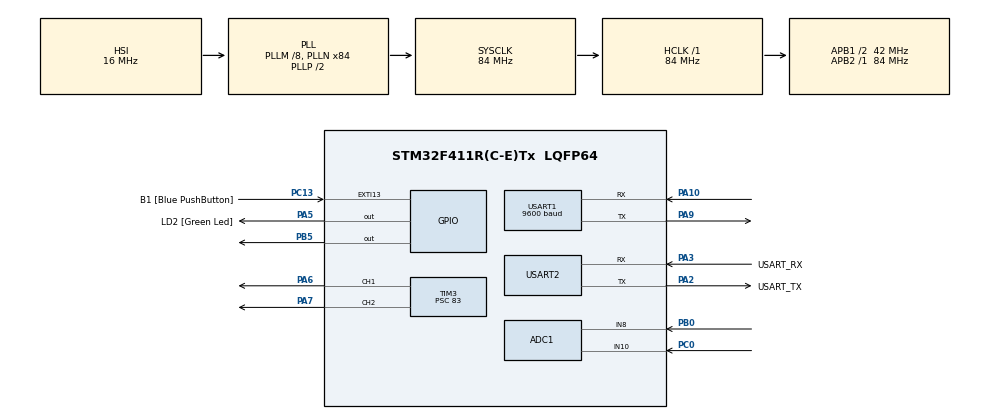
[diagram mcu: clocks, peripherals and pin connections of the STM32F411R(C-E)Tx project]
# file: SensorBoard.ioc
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ADC1.Channel-0\#ChannelRegularConversion=ADC_CHANNEL_10
ADC1.Channel-1\#ChannelRegularConversion=ADC_CHANNEL_8
ADC1.ContinuousConvMode=DISABLE
ADC1.DMAContinuousRequests=DISABLE
ADC1.NbrOfConversion=2
ADC1.NbrOfConversionFlag=1
ADC1.Rank-0\#ChannelRegularConversion=1
ADC1.Rank-1\#ChannelRegularConversion=2
ADC1.SamplingTime-0\#ChannelRegularConversion=ADC_SAMPLETIME_3CYCLES
ADC1.SamplingTime-1\#ChannelRegularConversion=ADC_SAMPLETIME_3CYCLES
ADC1.master=1
Dma.ADC1.0.Direction=DMA_PERIPH_TO_MEMORY
Dma.ADC1.0.FIFOMode=DMA_FIFOMODE_DISABLE
Dma.ADC1.0.Instance=DMA2_Stream0
Dma.ADC1.0.MemDataAlignment=DMA_MDATAALIGN_WORD
Dma.ADC1.0.MemInc=DMA_MINC_ENABLE
Dma.ADC1.0.Mode=DMA_CIRCULAR
Dma.ADC1.0.PeriphDataAlignment=DMA_PDATAALIGN_WORD
Dma.ADC1.0.PeriphInc=DMA_PINC_DISABLE
Dma.ADC1.0.Priority=DMA_PRIORITY_VERY_HIGH
Dma.Request0=ADC1
Dma.Request1=USART2_RX
Dma.Request2=USART2_TX
Dma.Request3=USART1_TX
Dma.Request4=USART1_RX
Dma.USART1_RX.4.Direction=DMA_PERIPH_TO_MEMORY
Dma.USART1_RX.4.FIFOMode=DMA_FIFOMODE_DISABLE
Dma.USART1_RX.4.Instance=DMA2_Stream2
Dma.USART1_RX.4.MemDataAlignment=DMA_MDATAALIGN_BYTE
Dma.USART1_RX.4.MemInc=DMA_MINC_ENABLE
Dma.USART1_RX.4.Mode=DMA_NORMAL
Dma.USART1_RX.4.PeriphDataAlignment=DMA_PDATAALIGN_BYTE
Dma.USART1_RX.4.PeriphInc=DMA_PINC_DISABLE
Dma.USART1_RX.4.Priority=DMA_PRIORITY_HIGH
Dma.USART1_TX.3.Direction=DMA_MEMORY_TO_PERIPH
Dma.USART1_TX.3.FIFOMode=DMA_FIFOMODE_DISABLE
Dma.USART1_TX.3.Instance=DMA2_Stream7
Dma.USART1_TX.3.MemDataAlignment=DMA_MDATAALIGN_BYTE
Dma.USART1_TX.3.MemInc=DMA_MINC_ENABLE
Dma.USART1_TX.3.Mode=DMA_NORMAL
Dma.USART1_TX.3.PeriphDataAlignment=DMA_PDATAALIGN_BYTE
Dma.USART1_TX.3.PeriphInc=DMA_PINC_DISABLE
Dma.USART1_TX.3.Priority=DMA_PRIORITY_HIGH
Dma.USART2_RX.1.Direction=DMA_PERIPH_TO_MEMORY
Dma.USART2_RX.1.FIFOMode=DMA_FIFOMODE_DISABLE
Dma.USART2_RX.1.Instance=DMA1_Stream5
Dma.USART2_RX.1.MemDataAlignment=DMA_MDATAALIGN_BYTE
Dma.USART2_RX.1.MemInc=DMA_MINC_ENABLE
Dma.USART2_RX.1.Mode=DMA_NORMAL
Dma.USART2_RX.1.PeriphDataAlignment=DMA_PDATAALIGN_BYTE
Dma.USART2_RX.1.PeriphInc=DMA_PINC_DISABLE
Dma.USART2_RX.1.Priority=DMA_PRIORITY_LOW
Dma.USART2_TX.2.Direction=DMA_MEMORY_TO_PERIPH
Dma.USART2_TX.2.FIFOMode=DMA_FIFOMODE_DISABLE
Dma.USART2_TX.2.Instance=DMA1_Stream6
Dma.USART2_TX.2.MemDataAlignment=DMA_MDATAALIGN_BYTE
Dma.USART2_TX.2.MemInc=DMA_MINC_ENABLE
Dma.USART2_TX.2.Mode=DMA_NORMAL
Dma.USART2_TX.2.PeriphDataAlignment=DMA_PDATAALIGN_BYTE
Dma.USART2_TX.2.PeriphInc=DMA_PINC_DISABLE
Dma.USART2_TX.2.Priority=DMA_PRIORITY_LOW
FREERTOS.Tasks01=defaultTask,24,128,StartDefaultTask,Default,NULL,Dynamic,NULL,NULL
FREERTOS.Timers01=dmaTimer,dmaCallback,osTimerPeriodic,Default,NULL,Dynamic,NULL;sensorTimer,sensorCallback,osTimerPeriodic,Default,NULL,Dynamic,NULL
FREERTOS.configUSE_NEWLIB_REENTRANT=1
Mcu.Family=STM32F4
Mcu.Name=STM32F411R(C-E)Tx
Mcu.Package=LQFP64
NVIC.DMA1_Stream5_IRQn=true\:5\:0\:false\:false\:true\:true\:false\:true\:true
NVIC.DMA1_Stream6_IRQn=true\:5\:0\:false\:false\:true\:true\:false\:true\:true
NVIC.DMA2_Stream0_IRQn=true\:5\:0\:false\:false\:true\:true\:false\:true\:true
NVIC.DMA2_Stream2_IRQn=true\:5\:0\:false\:false\:true\:true\:false\:true\:true
NVIC.DMA2_Stream7_IRQn=true\:5\:0\:false\:false\:true\:true\:false\:true\:true
NVIC.PriorityGroup=NVIC_PRIORITYGROUP_4
NVIC.TIM1_UP_TIM10_IRQn=true\:15\:0\:false\:false\:true\:false\:false\:true\:true
NVIC.TimeBase=TIM1_UP_TIM10_IRQn
NVIC.TimeBaseIP=TIM1
NVIC.USART1_IRQn=true\:5\:0\:false\:false\:true\:true\:true\:true\:true
NVIC.USART2_IRQn=true\:5\:0\:false\:false\:true\:true\:true\:true\:true
PA10.Mode=Asynchronous
PA10.Signal=USART1_RX
PA13.GPIO_Label=TMS
PA13.Mode=Serial_Wire
PA13.Signal=SYS_JTMS-SWDIO
PA14.GPIO_Label=TCK
PA14.Mode=Serial_Wire
PA14.Signal=SYS_JTCK-SWCLK
PA2.GPIO_Label=USART_TX
PA2.Mode=Asynchronous
PA2.Signal=USART2_TX
PA3.GPIO_Label=USART_RX
PA3.Mode=Asynchronous
PA3.Signal=USART2_RX
PA5.GPIO_Label=LD2 [Green Led]
PA5.Signal=GPIO_Output
PA6.Signal=S_TIM3_CH1
PA7.Signal=S_TIM3_CH2
PA9.Mode=Asynchronous
PA9.Signal=USART1_TX
PB0.Signal=ADCx_IN8
PB3.GPIO_Label=SWO
PB3.Signal=SYS_JTDO-SWO
PB5.Signal=GPIO_Output
PC0.Signal=ADCx_IN10
PC13-ANTI_TAMP.GPIO_Label=B1 [Blue PushButton]
PC13-ANTI_TAMP.GPIO_ModeDefaultEXTI=GPIO_MODE_IT_FALLING
PC13-ANTI_TAMP.Signal=GPXTI13
PC14-OSC32_IN.Mode=LSE-External-Oscillator
PC14-OSC32_IN.Signal=RCC_OSC32_IN
PC15-OSC32_OUT.Mode=LSE-External-Oscillator
PC15-OSC32_OUT.Signal=RCC_OSC32_OUT
PH0\ -\ OSC_IN.Mode=HSE-External-Clock-Source
PH0\ -\ OSC_IN.Signal=RCC_OSC_IN
PH1\ -\ OSC_OUT.Mode=HSE-External-Clock-Source
PH1\ -\ OSC_OUT.Signal=RCC_OSC_OUT
ProjectManager.HeapSize=0x200
ProjectManager.StackSize=0x400
ProjectManager.TargetToolchain=STM32CubeIDE
RCC.48MHZClocksFreq_Value=42000000
RCC.AHBFreq_Value=84000000
RCC.APB1CLKDivider=RCC_HCLK_DIV2
RCC.APB1Freq_Value=42000000
RCC.APB1TimFreq_Value=84000000
RCC.APB2Freq_Value=84000000
RCC.APB2TimFreq_Value=84000000
RCC.CortexFreq_Value=84000000
RCC.FLatency-AdvancedSettings=FLASH_LATENCY_2
RCC.HCLKFreq_Value=84000000
RCC.HSE_VALUE=8000000
RCC.HSI_VALUE=16000000
RCC.PLLM=8
RCC.PLLN=84
RCC.SYSCLKFreq_VALUE=84000000
RCC.SYSCLKSource=RCC_SYSCLKSOURCE_PLLCLK
RCC.VCOOutputFreq_Value=168000000
SH.ADCx_IN10.0=ADC1_IN10,IN10
SH.ADCx_IN8.0=ADC1_IN8,IN8
SH.S_TIM3_CH1.0=TIM3_CH1,PWM Generation1 CH1
SH.S_TIM3_CH2.0=TIM3_CH2,PWM Generation2 CH2
TIM3.Channel-PWM\ Generation1\ CH1=TIM_CHANNEL_1
TIM3.Channel-PWM\ Generation2\ CH2=TIM_CHANNEL_2
TIM3.Prescaler=83
USART1.BaudRate=9600
USART1.VirtualMode=VM_ASYNC
USART2.VirtualMode=VM_ASYNC
VP_FREERTOS_VS_CMSIS_V2.Mode=CMSIS_V2
VP_SYS_VS_tim1.Mode=TIM1
VP_TIM3_VS_ClockSourceINT.Mode=Internal
board=NUCLEO-F411RE

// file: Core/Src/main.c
/* USER CODE BEGIN Header */
/**
  ******************************************************************************
  * @file           : main.c
  * @brief          : Main program body
  ******************************************************************************
  * @attention
  *
  * Copyright (c) 2024 STMicroelectronics.
  * All rights reserved.
  *
  * This software is licensed under terms that can be found in the LICENSE file
  * in the root directory of this software component.
  * If no LICENSE file comes with this software, it is provided AS-IS.
  *
  ******************************************************************************
  */
/* USER CODE END Header */
#include "main.h"
#include "cmsis_os.h"

/* USER CODE BEGIN Includes */
#include "MQ135.h"
#include "SharpGP2Y10.h"

/* USER CODE END Includes */

ADC_HandleTypeDef hadc1;
DMA_HandleTypeDef hdma_adc1;

TIM_HandleTypeDef htim3;

UART_HandleTypeDef huart1;
UART_HandleTypeDef huart2;
DMA_HandleTypeDef hdma_usart1_tx;
DMA_HandleTypeDef hdma_usart1_rx;
DMA_HandleTypeDef hdma_usart2_rx;
DMA_HandleTypeDef hdma_usart2_tx;

/* Definitions for defaultTask */
osThreadId_t defaultTaskHandle;
const osThreadAttr_t defaultTask_attributes = {
  .name = "defaultTask",
  .stack_size = 128 * 4,
  .priority = (osPriority_t) osPriorityNormal,
};
/* Definitions for dmaTimer */
osTimerId_t dmaTimerHandle;
const osTimerAttr_t dmaTimer_attributes = {
  .name = "dmaTimer"
};
/* Definitions for sensorTimer */
osTimerId_t sensorTimerHandle;
const osTimerAttr_t sensorTimer_attributes = {
  .name = "sensorTimer"
};
/* USER CODE BEGIN PV */

uint32_t ADC_BUFFER[2];
MQ135_t mq135;
SharpGP2Y10_t dust;
uint8_t buf[256];

/* USER CODE END PV */

void SystemClock_Config(void);
static void MX_GPIO_Init(void);
static void MX_DMA_Init(void);
static void MX_USART2_UART_Init(void);
static void MX_TIM3_Init(void);
static void MX_ADC1_Init(void);
static void MX_USART1_UART_Init(void);
void StartDefaultTask(void *argument);
void dmaCallback(void *argument);
void sensorCallback(void *argument);

int main(void)
{

  /* MCU Configuration--------------------------------------------------------*/

  /* Reset of all peripherals, Initializes the Flash interface and the Systick. */
  HAL_Init();

  /* Configure the system clock */
  SystemClock_Config();

  /* Initialize all configured peripherals */
  MX_GPIO_Init();
  MX_DMA_Init();
  MX_USART2_UART_Init();
  MX_TIM3_Init();
  MX_ADC1_Init();
  MX_USART1_UART_Init();
  /* USER CODE BEGIN 2 */
  HAL_TIM_PWM_Start(&htim3, TIM_CHANNEL_1);
  HAL_TIM_PWM_Start(&htim3, TIM_CHANNEL_2);
  mq135.binder = &ADC_BUFFER[1];
  mq135.rload = 10.00;
  mq135.rzero = 76.63;
  SharpGP2Y10_init(&dust, &ADC_BUFFER[0],GPIOB,GPIO_PIN_5,3.3f);
  /* USER CODE END 2 */

  /* Init scheduler */
  osKernelInitialize();

  /* Create the timer(s) */
  /* creation of dmaTimer */
  dmaTimerHandle = osTimerNew(dmaCallback, osTimerPeriodic, NULL, &dmaTimer_attributes);

  /* creation of sensorTimer */
  sensorTimerHandle = osTimerNew(sensorCallback, osTimerPeriodic, NULL, &sensorTimer_attributes);

  /* USER CODE BEGIN RTOS_TIMERS */
  /* start timers, add new ones, ... */
  osTimerStart(dmaTimerHandle, 100);
  osTimerStart(sensorTimerHandle, 1000);
  /* USER CODE END RTOS_TIMERS */

  /* Create the thread(s) */
  /* creation of defaultTask */
  defaultTaskHandle = osThreadNew(StartDefaultTask, NULL, &defaultTask_attributes);

  /* Start scheduler */
  osKernelStart();

  /* We should never get here as control is now taken by the scheduler */

  /* Infinite loop */
  while (1)
  {

  }
}

void SystemClock_Config(void)
{
  RCC_OscInitTypeDef RCC_OscInitStruct = {0};
  RCC_ClkInitTypeDef RCC_ClkInitStruct = {0};

  /** Configure the main internal regulator output voltage
  */
  __HAL_RCC_PWR_CLK_ENABLE();
  __HAL_PWR_VOLTAGESCALING_CONFIG(PWR_REGULATOR_VOLTAGE_SCALE1);

  /** Initializes the RCC Oscillators according to the specified parameters
  * in the RCC_OscInitTypeDef structure.
  */
  RCC_OscInitStruct.OscillatorType = RCC_OSCILLATORTYPE_HSI;
  RCC_OscInitStruct.HSIState = RCC_HSI_ON;
  RCC_OscInitStruct.HSICalibrationValue = RCC_HSICALIBRATION_DEFAULT;
  RCC_OscInitStruct.PLL.PLLState = RCC_PLL_ON;
  RCC_OscInitStruct.PLL.PLLSource = RCC_PLLSOURCE_HSI;
  RCC_OscInitStruct.PLL.PLLM = 8;
  RCC_OscInitStruct.PLL.PLLN = 84;
  RCC_OscInitStruct.PLL.PLLP = RCC_PLLP_DIV2;
  RCC_OscInitStruct.PLL.PLLQ = 4;
  if (HAL_RCC_OscConfig(&RCC_OscInitStruct) != HAL_OK)
  {
    Error_Handler();
  }

  /** Initializes the CPU, AHB and APB buses clocks
  */
  RCC_ClkInitStruct.ClockType = RCC_CLOCKTYPE_HCLK|RCC_CLOCKTYPE_SYSCLK
                              |RCC_CLOCKTYPE_PCLK1|RCC_CLOCKTYPE_PCLK2;
  RCC_ClkInitStruct.SYSCLKSource = RCC_SYSCLKSOURCE_PLLCLK;
  RCC_ClkInitStruct.AHBCLKDivider = RCC_SYSCLK_DIV1;
  RCC_ClkInitStruct.APB1CLKDivider = RCC_HCLK_DIV2;
  RCC_ClkInitStruct.APB2CLKDivider = RCC_HCLK_DIV1;

  if (HAL_RCC_ClockConfig(&RCC_ClkInitStruct, FLASH_LATENCY_2) != HAL_OK)
  {
    Error_Handler();
  }
}

static void MX_ADC1_Init(void)
{

  ADC_ChannelConfTypeDef sConfig = {0};

  /** Configure the global features of the ADC (Clock, Resolution, Data Alignment and number of conversion)
  */
  hadc1.Instance = ADC1;
  hadc1.Init.ClockPrescaler = ADC_CLOCK_SYNC_PCLK_DIV4;
  hadc1.Init.Resolution = ADC_RESOLUTION_12B;
  hadc1.Init.ScanConvMode = ENABLE;
  hadc1.Init.ContinuousConvMode = DISABLE;
  hadc1.Init.DiscontinuousConvMode = DISABLE;
  hadc1.Init.ExternalTrigConvEdge = ADC_EXTERNALTRIGCONVEDGE_NONE;
  hadc1.Init.ExternalTrigConv = ADC_SOFTWARE_START;
  hadc1.Init.DataAlign = ADC_DATAALIGN_RIGHT;
  hadc1.Init.NbrOfConversion = 2;
  hadc1.Init.DMAContinuousRequests = DISABLE;
  hadc1.Init.EOCSelection = ADC_EOC_SINGLE_CONV;
  if (HAL_ADC_Init(&hadc1) != HAL_OK)
  {
    Error_Handler();
  }

  /** Configure for the selected ADC regular channel its corresponding rank in the sequencer and its sample time.
  */
  sConfig.Channel = ADC_CHANNEL_10;
  sConfig.Rank = 1;
  sConfig.SamplingTime = ADC_SAMPLETIME_3CYCLES;
  if (HAL_ADC_ConfigChannel(&hadc1, &sConfig) != HAL_OK)
  {
    Error_Handler();
  }

  /** Configure for the selected ADC regular channel its corresponding rank in the sequencer and its sample time.
  */
  sConfig.Channel = ADC_CHANNEL_8;
  sConfig.Rank = 2;
  if (HAL_ADC_ConfigChannel(&hadc1, &sConfig) != HAL_OK)
  {
    Error_Handler();
  }

}

static void MX_TIM3_Init(void)
{

  TIM_ClockConfigTypeDef sClockSourceConfig = {0};
  TIM_MasterConfigTypeDef sMasterConfig = {0};
  TIM_OC_InitTypeDef sConfigOC = {0};

  htim3.Instance = TIM3;
  htim3.Init.Prescaler = 83;
  htim3.Init.CounterMode = TIM_COUNTERMODE_UP;
  htim3.Init.Period = 65535;
  htim3.Init.ClockDivision = TIM_CLOCKDIVISION_DIV1;
  htim3.Init.AutoReloadPreload = TIM_AUTORELOAD_PRELOAD_DISABLE;
  if (HAL_TIM_Base_Init(&htim3) != HAL_OK)
  {
    Error_Handler();
  }
  sClockSourceConfig.ClockSource = TIM_CLOCKSOURCE_INTERNAL;
  if (HAL_TIM_ConfigClockSource(&htim3, &sClockSourceConfig) != HAL_OK)
  {
    Error_Handler();
  }
  if (HAL_TIM_PWM_Init(&htim3) != HAL_OK)
  {
    Error_Handler();
  }
  sMasterConfig.MasterOutputTrigger = TIM_TRGO_RESET;
  sMasterConfig.MasterSlaveMode = TIM_MASTERSLAVEMODE_DISABLE;
  if (HAL_TIMEx_MasterConfigSynchronization(&htim3, &sMasterConfig) != HAL_OK)
  {
    Error_Handler();
  }
  sConfigOC.OCMode = TIM_OCMODE_PWM1;
  sConfigOC.Pulse = 0;
  sConfigOC.OCPolarity = TIM_OCPOLARITY_HIGH;
  sConfigOC.OCFastMode = TIM_OCFAST_DISABLE;
  if (HAL_TIM_PWM_ConfigChannel(&htim3, &sConfigOC, TIM_CHANNEL_1) != HAL_OK)
  {
    Error_Handler();
  }
  if (HAL_TIM_PWM_ConfigChannel(&htim3, &sConfigOC, TIM_CHANNEL_2) != HAL_OK)
  {
    Error_Handler();
  }
  HAL_TIM_MspPostInit(&htim3);

}

static void MX_USART1_UART_Init(void)
{

  huart1.Instance = USART1;
  huart1.Init.BaudRate = 9600;
  huart1.Init.WordLength = UART_WORDLENGTH_8B;
  huart1.Init.StopBits = UART_STOPBITS_1;
  huart1.Init.Parity = UART_PARITY_NONE;
  huart1.Init.Mode = UART_MODE_TX_RX;
  huart1.Init.HwFlowCtl = UART_HWCONTROL_NONE;
  huart1.Init.OverSampling = UART_OVERSAMPLING_16;
  if (HAL_UART_Init(&huart1) != HAL_OK)
  {
    Error_Handler();
  }

}

static void MX_USART2_UART_Init(void)
{

  huart2.Instance = USART2;
  huart2.Init.BaudRate = 115200;
  huart2.Init.WordLength = UART_WORDLENGTH_8B;
  huart2.Init.StopBits = UART_STOPBITS_1;
  huart2.Init.Parity = UART_PARITY_NONE;
  huart2.Init.Mode = UART_MODE_TX_RX;
  huart2.Init.HwFlowCtl = UART_HWCONTROL_NONE;
  huart2.Init.OverSampling = UART_OVERSAMPLING_16;
  if (HAL_UART_Init(&huart2) != HAL_OK)
  {
    Error_Handler();
  }

}

static void MX_DMA_Init(void)
{

  /* DMA controller clock enable */
  __HAL_RCC_DMA2_CLK_ENABLE();
  __HAL_RCC_DMA1_CLK_ENABLE();

  /* DMA interrupt init */
  /* DMA1_Stream5_IRQn interrupt configuration */
  HAL_NVIC_SetPriority(DMA1_Stream5_IRQn, 5, 0);
  HAL_NVIC_EnableIRQ(DMA1_Stream5_IRQn);
  /* DMA1_Stream6_IRQn interrupt configuration */
  HAL_NVIC_SetPriority(DMA1_Stream6_IRQn, 5, 0);
  HAL_NVIC_EnableIRQ(DMA1_Stream6_IRQn);
  /* DMA2_Stream0_IRQn interrupt configuration */
  HAL_NVIC_SetPriority(DMA2_Stream0_IRQn, 5, 0);
  HAL_NVIC_EnableIRQ(DMA2_Stream0_IRQn);
  /* DMA2_Stream2_IRQn interrupt configuration */
  HAL_NVIC_SetPriority(DMA2_Stream2_IRQn, 5, 0);
  HAL_NVIC_EnableIRQ(DMA2_Stream2_IRQn);
  /* DMA2_Stream7_IRQn interrupt configuration */
  HAL_NVIC_SetPriority(DMA2_Stream7_IRQn, 5, 0);
  HAL_NVIC_EnableIRQ(DMA2_Stream7_IRQn);

}

static void MX_GPIO_Init(void)
{
  GPIO_InitTypeDef GPIO_InitStruct = {0};

  /* GPIO Ports Clock Enable */
  __HAL_RCC_GPIOC_CLK_ENABLE();
  __HAL_RCC_GPIOH_CLK_ENABLE();
  __HAL_RCC_GPIOA_CLK_ENABLE();
  __HAL_RCC_GPIOB_CLK_ENABLE();

  /*Configure GPIO pin Output Level */
  HAL_GPIO_WritePin(LD2_GPIO_Port, LD2_Pin, GPIO_PIN_RESET);

  /*Configure GPIO pin Output Level */
  HAL_GPIO_WritePin(GPIOB, GPIO_PIN_5, GPIO_PIN_RESET);

  /*Configure GPIO pin : B1_Pin */
  GPIO_InitStruct.Pin = B1_Pin;
  GPIO_InitStruct.Mode = GPIO_MODE_IT_FALLING;
  GPIO_InitStruct.Pull = GPIO_NOPULL;
  HAL_GPIO_Init(B1_GPIO_Port, &GPIO_InitStruct);

  /*Configure GPIO pin : LD2_Pin */
  GPIO_InitStruct.Pin = LD2_Pin;
  GPIO_InitStruct.Mode = GPIO_MODE_OUTPUT_PP;
  GPIO_InitStruct.Pull = GPIO_NOPULL;
  GPIO_InitStruct.Speed = GPIO_SPEED_FREQ_LOW;
  HAL_GPIO_Init(LD2_GPIO_Port, &GPIO_InitStruct);

  /*Configure GPIO pin : PB5 */
  GPIO_InitStruct.Pin = GPIO_PIN_5;
  GPIO_InitStruct.Mode = GPIO_MODE_OUTPUT_PP;
  GPIO_InitStruct.Pull = GPIO_NOPULL;
  GPIO_InitStruct.Speed = GPIO_SPEED_FREQ_LOW;
  HAL_GPIO_Init(GPIOB, &GPIO_InitStruct);

}

/* USER CODE BEGIN 4 */

void HAL_ADC_ConvCpltCallback(ADC_HandleTypeDef* hadc)
{
    TIM2->CCR1 = (ADC_BUFFER[0] << 4);
    TIM2->CCR2 = (ADC_BUFFER[1] << 4);
}

/* USER CODE END 4 */

void StartDefaultTask(void *argument)
{
  for(;;)
  {
	  osDelay(1);
  }
}

/* dmaCallback function */
void dmaCallback(void *argument)
{
  /* USER CODE BEGIN dmaCallback */
	HAL_ADC_Start_DMA(&hadc1, ADC_BUFFER, 2);
	SharpGP2Y10_calc(&dust);
  /* USER CODE END dmaCallback */
}

/* sensorCallback function */
void sensorCallback(void *argument)
{
  /* USER CODE BEGIN sensorCallback */
	HAL_GPIO_TogglePin(GPIOA,GPIO_PIN_5);
	sprintf(buf,"%f %f\r\n",MQ135_getCorrectedPPM(mq135,22.9,67.1),dust.dustDensity);
	HAL_UART_Transmit_DMA(&huart1, buf, strlen(buf));
	HAL_UART_Transmit_DMA(&huart2, buf, strlen(buf));
  /* USER CODE END sensorCallback */
}

void HAL_TIM_PeriodElapsedCallback(TIM_HandleTypeDef *htim)
{
  if (htim->Instance == TIM1) {
    HAL_IncTick();
  }
}

void Error_Handler(void)
{
  __disable_irq();
  while (1)
  {
  }
}
